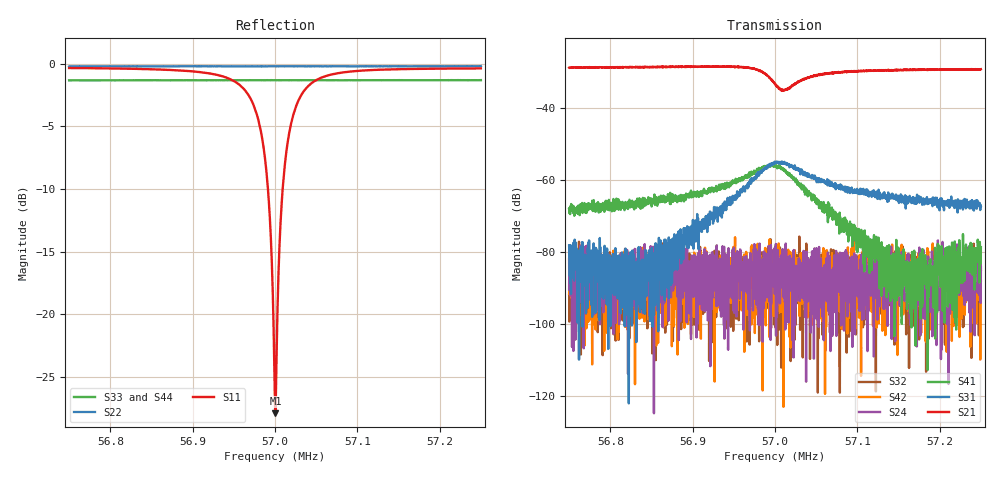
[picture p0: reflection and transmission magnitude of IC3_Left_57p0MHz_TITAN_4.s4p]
#  HZ  S  DB  R  50.00
! Rohde & Schwarz Vector Network Analyzer
! Rohde-Schwarz,ZNB8-4Port,1311601044102961,2.82
! Created: UTC 2/8/2019, 4:23:51 PM
! freq[Hz]  db:S11  ang:S11  db:S12  ang:S12  db:S13  ang:S13  db:S14  ang:S14
!  db:S21  ang:S21  db:S22  ang:S22  db:S23  ang:S23  db:S24  ang:S24
!  db:S31  ang:S31  db:S32  ang:S32  db:S33  ang:S33  db:S34  ang:S34
!  db:S41  ang:S41  db:S42  ang:S42  db:S43  ang:S43  db:S44  ang:S44
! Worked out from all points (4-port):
!   2001 points, 56.75 MHz to 57.25 MHz, reference 50 ohm
!   strongest paths, dB at 56.75 MHz, 56.875 MHz, 57 MHz, 57.125 MHz, 57.25 MHz:
!     S21: -28.7, -28.5, -33.1, -29.5, -29.1
!     S31: -78.1, -88.6, -55.3, -65.0, -67.2
!     S41: -67.8, -65.9, -55.8, -77.0, -78.6
!     S24: -90.4, -81.1, -80.7, -85.5, -84.2
!     S42: -91.6, -84.1, -86.1, -97.6, -87.8
!     S32: -81.9, -88.4, -94.4, -89.3, -84.9
!   lowest |S11| = -27.9 dB at 57.0005 MHz (marker M1), VSWR 1.08, Z = 47.3 - j2.85 ohm
!   |S11| at or under -10 dB: 56.99143 MHz to 57.00933 MHz (17.9 kHz wide, 0.0314 % of centre)
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5.675e7  -0.35 -125.3  -28.67 63.7  -82.52 -163.8  -68.61 -135.9
         -28.70 63.8  -0.22 72.8  -85.45 76.7  -90.36 178.4
         -78.07 -125.2  -81.88 11.1  -1.34 34.1  -88.91 179.4
         -67.82 -139.5  -91.60 145.9  -84.38 139.8  -1.33 27.5
5.6879e7  -0.52 -139.6  -28.42 55.2  -74.64 21.9  -65.99 -156.1
          -28.42 54.8  -0.21 70.6  -96.91 -143.2  -82.52 -22.0
          -84.73 5.2  -94.56 -123.5  -1.32 32.6  -91.02 39.9
          -64.13 -155.7  -86.34 78.5  -88.55 146.1  -1.32 26.0
5.696625e7  -2.36 -169.0  -28.66 38.7  -61.23 -4.7  -58.57 -178.3
            -28.69 38.4  -0.21 69.2  -82.92 -162.5  -90.07 -51.1
            -61.51 -1.5  -86.91 -93.0  -1.32 31.6  -81.20 122.5
            -58.55 -177.5  -83.64 39.8  -89.88 171.6  -1.32 24.9
5.70005e7  -27.91 -131.5  -33.40 28.0  -55.36 -56.2  -56.01 129.4
           -33.33 27.7  -0.21 68.7  -87.27 39.0  -84.32 27.3
           -55.09 -56.3  -86.29 -99.9  -1.32 31.2  -83.18 -42.7
           -55.74 129.4  -86.91 -35.0  -90.42 59.8  -1.33 24.5
5.703425e7  -2.26 -102.4  -32.00 65.4  -57.81 -111.1  -61.89 75.3
            -31.95 64.9  -0.21 68.1  -121.20 -118.3  -90.69 8.1
            -58.56 -109.6  -87.03 179.2  -1.32 30.8  -83.77 -20.7
            -62.17 76.8  -84.54 131.6  -93.92 -61.4  -1.33 24.1
5.7113e7  -0.52 -131.3  -29.65 57.1  -63.82 -132.3  -75.88 42.0
          -29.62 57.5  -0.21 66.8  -89.84 140.4  -91.21 -174.7
          -63.43 -130.4  -84.81 122.1  -1.32 29.9  -89.14 -65.4
          -75.67 56.2  -87.31 -146.1  -82.46 -115.0  -1.32 23.2
5.725e7  -0.38 -147.2  -29.23 48.5  -67.63 -151.3  -79.26 175.0
         -29.14 48.6  -0.20 64.6  -88.58 71.0  -84.16 -118.4
         -67.19 -146.5  -84.90 -96.5  -1.31 28.3  -89.65 -108.7
         -78.62 171.0  -87.84 -156.3  -89.07 111.2  -1.32 21.5
